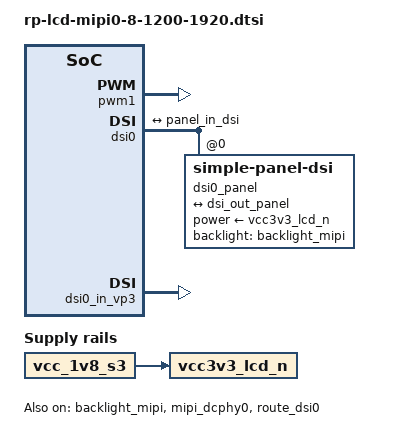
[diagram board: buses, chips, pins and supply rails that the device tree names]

&backlight_mipi {
        compatible = "pwm-backlight";
        //pwms = <&pwm1 0 25000 0>;
        status = "okay";
        brightness-levels = <
              0  20  20  21  21  22  22  23
             23  24  24  25  25  26  26  27
             27  28  28  29  29  30  30  31
             31  32  32  33  33  34  34  35
             35  36  36  37  37  38  38  39
             40  41  42  43  44  45  46  47
             48  49  50  51  52  53  54  55
             56  57  58  59  60  61  62  63
             64  65  66  67  68  69  70  71
             72  73  74  75  76  77  78  79
             80  81  82  83  84  85  86  87
             88  89  90  91  92  93  94  95
             96  97  98  99 100 101 102 103
            104 105 106 107 108 109 110 111
            112 113 114 115 116 117 118 119
            120 121 122 123 124 125 126 127
            128 129 130 131 132 133 134 135
            136 137 138 139 140 141 142 143
            144 145 146 147 148 149 150 151
            152 153 154 155 156 157 158 159
            160 161 162 163 164 165 166 167
            168 169 170 171 172 173 174 175
            176 177 178 179 180 181 182 183
            184 185 186 187 188 189 190 191
            192 193 194 195 196 197 198 199
            200 201 202 203 204 205 206 207
            208 209 210 211 212 213 214 215
            216 217 218 219 220 221 222 223
            224 225 226 227 228 229 230 231
            232 233 234 235 236 237 238 239
            240 241 242 243 244 245 246 247
            248 249 250 251 252 253 254 255
        >;
        default-brightness-level = <200>;
    };


&vcc3v3_lcd_n {
  compatible = "regulator-fixed";
  regulator-name = "vcc3v3_lcd0_n";
  regulator-boot-on;
  enable-active-high;
  //gpio = <&gpio4 RK_PC2 GPIO_ACTIVE_HIGH>;
  vin-supply = <&vcc_1v8_s3>;
};


&pwm1 {
    status = "okay";
    pinctrl-0 = <&pwm1m1_pins>;
};


&dsi0 {
    status = "okay";
    //rockchip,lane-rate = <480000>;
    dsi0_panel: panel@0 {
        status = "okay";
        compatible = "simple-panel-dsi";
        reg = <0>;

        power-supply = <&vcc3v3_lcd_n>;

        //reset-gpios = <&gpio4 RK_PC6 GPIO_ACTIVE_LOW>;
        //pinctrl-names = "default";
        //pinctrl-0 = <&lcd_rst_gpio>;

        backlight = <&backlight_mipi>;
    init-delay-ms = <60>;
        reset-delay-ms = <60>;
        enable-delay-ms = <60>;
        prepare-delay-ms = <60>;
        unprepare-delay-ms = <60>;
        disable-delay-ms = <60>;
        dsi,flags = <(MIPI_DSI_MODE_VIDEO | MIPI_DSI_MODE_VIDEO_BURST |
            MIPI_DSI_MODE_LPM | MIPI_DSI_MODE_EOT_PACKET)>;
        dsi,format = <MIPI_DSI_FMT_RGB888>;
        dsi,lanes  = <4>;
        
        panel-init-sequence = [
                        05 78 01 11    //sleep out
                        05 20 01 29    //display on
        ];
        
        panel-exit-sequence = [
            05 78 01 28
            05 78 01 10
        ];

        disp_timings0: display-timings {
            native-mode = <&dsi0_timing0>;
            dsi0_timing0: timing0 {
                clock-frequency = <148000000>;
                hactive = <1200>;
                vactive = <1920>;
                hback-porch = <60>;
                hfront-porch = <80>;
                vback-porch = <25>;
                vfront-porch = <16>;
                hsync-len = <10>;
                vsync-len = <2>;
                hsync-active = <0>;
                vsync-active = <0>;
                de-active = <0>;
                pixelclk-active = <0>;
            };
        };

        ports {
            #address-cells = <1>;
            #size-cells = <0>;

            port@0 {
                reg = <0>;
                panel_in_dsi: endpoint {
                    remote-endpoint = <&dsi_out_panel>;
                };
            };
        };
    };

    ports {
        #address-cells = <1>;
        #size-cells = <0>;

        port@1 {
            reg = <1>;
            dsi_out_panel: endpoint {
                remote-endpoint = <&panel_in_dsi>;
            };
        };
    };

};


&dsi0_in_vp2 {
    status = "disabled";
};

&dsi0_in_vp3 {
    status = "okay";
};

&mipi_dcphy0 {
    status = "okay";
};

&route_dsi0 {
    status = "okay";
    connect = <&vp3_out_dsi0>;
};


&goodix_ts {
        gtp_resolution_x = <1200>;
        gtp_resolution_y = <1920>;
        gtp_int_tarigger = <1>;
        gtp_change_x2y = <0>;
        gtp_overturn_x = <0>;
        gtp_overturn_y = <0>;
        gtp_send_cfg = <1>;
        gtp_touch_back = <1>;
        gtp_touch_wakeup = <1>;

      goodix,cfg-group0 = [
                5E B0 04 80 07 05 05 00 01 0F 28 05 
                50 32 03 05 00 00 00 00 00 00 00 00 
                00 00 00 8C 2C 0E 52 54 31 0D 00 00 
                01 80 04 1C 00 00 00 00 00 03 64 32 
                00 00 00 52 66 94 C5 02 07 00 00 04 
                83 53 00 82 57 00 80 5B 00 7F 5F 00 
                7E 63 00 7E 00 00 00 00 00 00 00 00 
                00 00 00 00 00 00 00 00 00 00 00 00 
                00 00 00 00 00 00 00 00 00 00 00 00 
                00 00 00 00 1C 1A 18 16 14 12 10 0E 
                0C 0A 08 06 04 02 FF FF FF FF FF FF 
                FF FF FF FF FF FF FF FF FF FF 00 02 
                04 06 08 0A 0C 0F 10 12 13 14 28 26 
                24 22 21 20 1F 1E 1D 1C 18 16 FF FF 
                FF FF FF FF FF FF FF FF FF FF FF FF 
                FF FF FF FF 22 01
        ];

        goodix,cfg-group2 = [
                    00 20 03 00 05 0A 05 00 01 08 28
                    05 50 32 03 05 00 00 00 00 00 00
                    00 00 00 00 00 8C 2C 0E 17 15 31
                    0D 00 00 01 BA 03 1D 00 00 00 00
                    00 03 64 32 00 00 00 0F 41 94 C5
                    02 07 00 00 04 99 11 00 77 17 00
                    5F 1F 00 4C 2A 00 41 38 00 41 00
                    00 00 00 00 00 00 00 00 00 00 00
                    00 00 00 00 00 00 00 00 00 00 00
                    00 00 00 00 00 00 00 00 00 00 00
                    00 00 1C 1A 18 16 14 12 10 0E 0C
                    0A 08 06 04 02 00 00 00 00 00 00
                    00 00 00 00 00 00 00 00 00 00 28
                    26 24 22 21 20 1F 1E 1D 1C 18 16
                    00 02 04 06 08 0A 0C 0F 10 12 13
                    14 FF FF 00 00 00 00 00 00 00 00
                    00 00 00 00 00 00 00 00 FE 01
        ];

};

